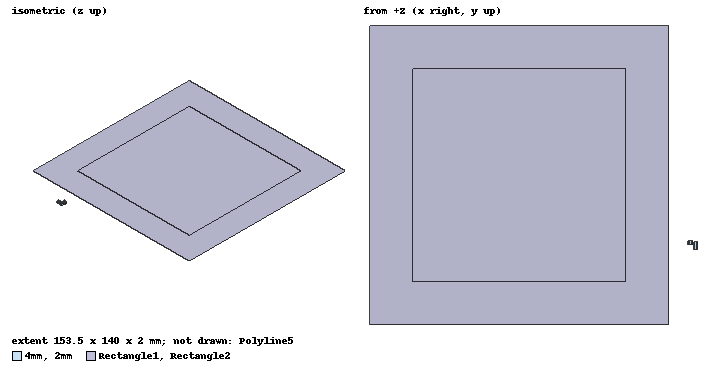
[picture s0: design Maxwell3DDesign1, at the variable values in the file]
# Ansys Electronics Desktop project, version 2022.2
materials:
  vacuum: permittivity=1

design Maxwell3DDesign1 (Maxwell 3D, Magnetostatic, model units mm)
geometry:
  Rectangle1 = rectangle(corner=(0mm, 0mm, 0mm), x_size=140mm, y_size=140mm)
  Polyline1 = polyline((0mm, 50mm, 0mm) (20mm, 50mm, 0mm))
  Polyline2 = polyline((140mm, 50mm, 0mm) (120mm, 50mm, 0mm))
  Polyline3 = polyline((70mm, 140mm, 0mm) (70mm, 120mm, 0mm))
  Polyline4 = polyline((70mm, 0mm, 0mm) (70mm, 20mm, 0mm))
  Rectangle2 = rectangle(corner=(20mm, 20mm, 0mm), x_size=100mm, y_size=100mm)
  2mm [vacuum] = polyline((150mm, 37.5mm, 0mm) (150mm, 39.5mm, 0mm), section circle width=2mm)
  4mm [vacuum] = polyline((152.5mm, 35mm, 0mm) (152.5mm, 39mm, 0mm), section circle width=2mm)
  Polyline5 [vacuum] = polyline(z=0mm, xy in mm: (140, 60) (140, 0) (0, 0) (0, 140) (136, 140) (136, 4) (4, 4) (4, 136) (132, 136) (132, 8) (8, 8) (8, 132) (128, 132) (128, 12) (12, 12) (12, 128) (124, 128) (124, 16) (16, 16) (16, 124) (120, 124) (120, 20) (20, 20) (20, 120) (116, 120) (116, 24) (24, 24) (24, 116) (112, 116) (112, 28) (28, 28) (28, 112) (108, 112) (108, 32) (32, 32) (32, 108) (104, 108) (104, 36) (36, 36) (36, 104), section circle width=2mm)
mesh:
  initial mesh: GlobalCurvilinear{Apply}
